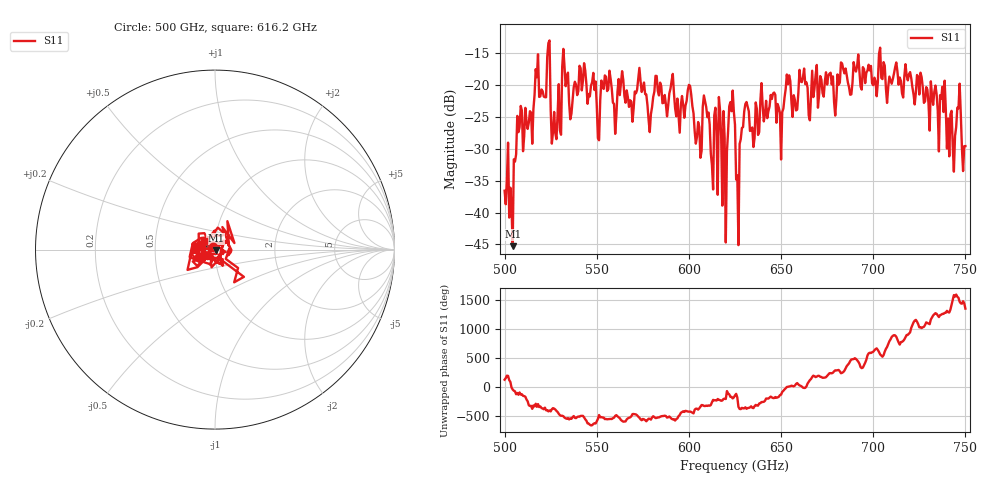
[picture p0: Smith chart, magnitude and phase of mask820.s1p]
!Created with skrf (http://scikit-rf.org).
# GHz S MA R 50.0
!freq magS11 angS11
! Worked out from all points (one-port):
!   401 points, 500 GHz to 750 GHz, reference 50 ohm
!   lowest |S11| = -45.3 dB at 504.4 GHz (marker M1), VSWR 1.01, Z = 50.4 - j0.368 ohm
!   |S11| at or under -10 dB: start of sweep to end of sweep
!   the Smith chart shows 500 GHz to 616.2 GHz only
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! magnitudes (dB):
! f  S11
! 500 GHz  -36.6
! 504.4 GHz  -45.3
! 508.1 GHz  -26.7
! 513.8 GHz  -24.2
! 517.5 GHz  -18.9
! 523.8 GHz  -13.5
! 526.9 GHz  -24.3
! 531.2 GHz  -17.2
! 541.9 GHz  -20.9
! 550.6 GHz  -28.4
! 562.5 GHz  -21.6
! 593.8 GHz  -22.2
! 600.6 GHz  -20.2
! 605.6 GHz  -26.6
! 609.4 GHz  -23.5
! 619.4 GHz  -28.3
! 623.1 GHz  -24.2
! 625 GHz  -26.3
! 626.9 GHz  -45.1
! 631.2 GHz  -22.7
! 634.4 GHz  -26.7
! 656.2 GHz  -25.1
! 687.5 GHz  -21.6
! 718.8 GHz  -19.3
! 737.5 GHz  -20.3
! 742.5 GHz  -24.1
! 746.2 GHz  -23.7
! 750 GHz  -29.6
